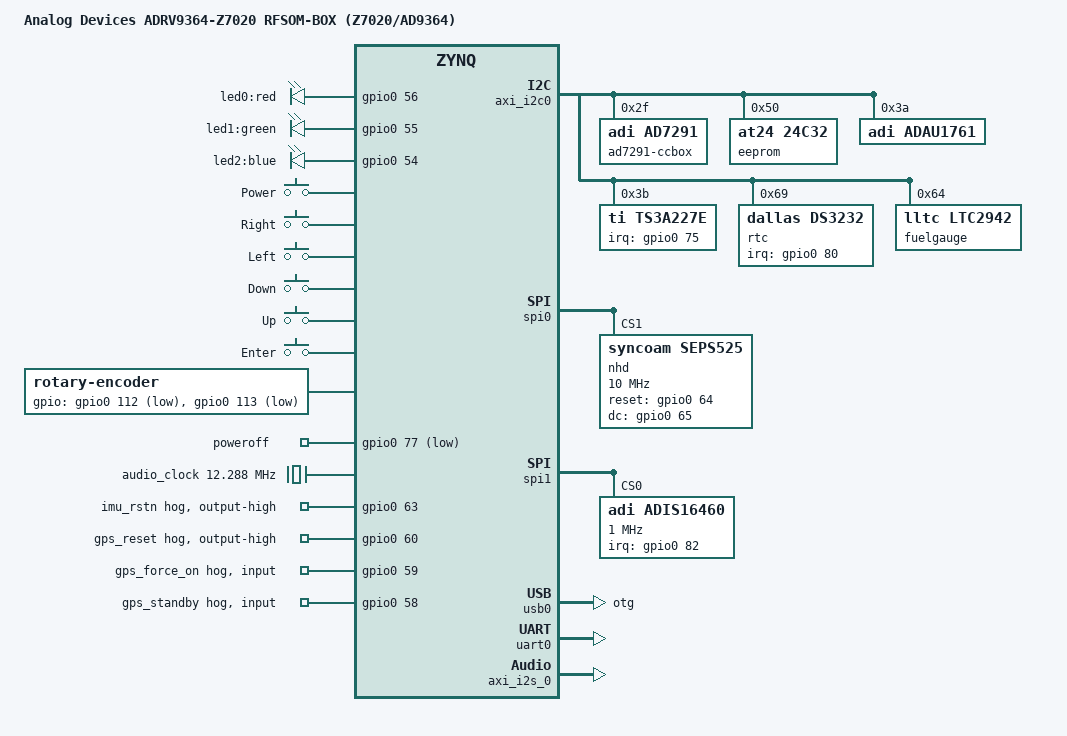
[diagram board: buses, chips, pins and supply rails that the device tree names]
// SPDX-License-Identifier: GPL-2.0
/*
 * AD9364-Z7020 System on Module (SOM) SDR - PackRF Carrier
 * Link: https://www.analog.com/ADRV9361-Z7020
 * Link: https://wiki.analog.com/resources/eval/user-guides/adrv936x_rfsom
 *
 * hdl_project: <adrv9364z7020/ccpackrf_lvds>
 * board_revision: <>
 *
 * Copyright 2016-2019 Analog Devices Inc.
 */
/dts-v1/;
#include "zynq-adrv9364-z7020.dtsi"
#include <dt-bindings/input/input.h>
#include <dt-bindings/gpio/gpio.h>
#include <dt-bindings/interrupt-controller/irq.h>

/ {
	model = "Analog Devices ADRV9364-Z7020 RFSOM-BOX (Z7020/AD9364)";
};

&axi_i2c0 {
	ad7291-ccbox@2f {
		compatible = "adi,ad7291";
		reg = <0x2f>;
	};

	eeprom@50 {
		compatible = "at24,24c32";
		reg = <0x50>;
	};

	adau1761: adau1761@3a {
		compatible = "adi,adau1761";
		reg = <0x3a>;

		clocks = <&audio_clock>;
		clock-names = "mclk";

		#sound-dai-cells = <0>;
	};

	ts3a227e@3b {
		compatible = "ti,ts3a227e";
		reg = <0x3b>;
		interrupt-parent = <&gpio0>;
		interrupts = <75 IRQ_TYPE_LEVEL_LOW>;
		ti,micbias = <1>; /* 2.2 Volt */
		ti,insertion-debounce-time = <6>; /* 1 sec */
	};

	rtc@68 {
		compatible = "dallas,ds3232";
		reg = <0x69>;
		interrupt-parent = <&gpio0>;
		interrupts = <80 IRQ_TYPE_LEVEL_LOW>;
	};

	fuelgauge: ltc2942@64 {
		compatible = "lltc,ltc2942";
		reg = <0x64>;
		lltc,resistor-sense = <20>;
		lltc,prescaler-exponent = <5>; /* 2^(2*5) = 1024 */
	};
};

/ {
	leds {
		compatible = "gpio-leds";
		led0 {
			label = "led0:red";
			gpios = <&gpio0 56 0>;
			linux,default-trigger = "heartbeat";
			};

		led1 {
			label = "led1:green";
			gpios = <&gpio0 55 0>;
			linux,default-trigger = "heartbeat";
		};

		led2 {
			label = "led2:blue";
			gpios = <&gpio0 54 0>;
			linux,default-trigger = "heartbeat";
		};
	};

	gpio-keys-power {
		#address-cells = <1>;
		#size-cells = <0>;
		compatible = "gpio-keys";

		power {
			interrupt-parent = <&gpio0>;
			interrupts = <76 IRQ_TYPE_EDGE_FALLING>;

			label = "Power";
			//gpios = <&gpio0 76 GPIO_ACTIVE_LOW>;

			linux,code = <KEY_POWER>;
			gpio-key,wakeup;
		};
	};

	gpio-keys-nav-switch {
		compatible = "gpio-keys";
		#address-cells = <1>;
		#size-cells = <0>;
		interrupt-parent = <&gpio0>;
		autorepeat;

		s5 {
			label = "Right";
			linux,code = <KEY_RIGHT>;
			interrupts = <101 IRQ_TYPE_EDGE_RISING>;
			debounce-interval = <10>;
		};

		s3 {
			label = "Left";
			linux,code = <KEY_LEFT>;
			interrupts = <103 IRQ_TYPE_EDGE_RISING>;
			debounce-interval = <10>;
			};

		s4 {
			label = "Down";
			linux,code = <KEY_DOWN>;
			interrupts = <102 IRQ_TYPE_EDGE_RISING>;
			debounce-interval = <10>;
		};

		s2 {
			label = "Up";
			linux,code = <KEY_UP>;
			interrupts = <104 IRQ_TYPE_EDGE_RISING>;
			debounce-interval = <10>;
		};

		s1 {
			label = "Enter";
			linux,code = <KEY_ENTER>;
			interrupts = <111 IRQ_TYPE_EDGE_RISING>;
			debounce-interval = <10>;
		};

	};

	rotary {
			compatible = "rotary-encoder";
			gpios = <&gpio0 112 1>, <&gpio0 113 1>;
			linux,axis = <REL_WHEEL>;
			rotary-encoder,steps = <24>;
			rotary-encoder,steps-per-period = <2>;
			rotary-encoder,rollover;
			rotary-encoder,relative-axis;
	};

	poweroff {
		compatible = "gpio-poweroff";
		gpios = <&gpio0 77 GPIO_ACTIVE_LOW>;
	};

	audio_clock: audio_clock {
		compatible = "fixed-clock";
		#clock-cells = <0>;
		clock-frequency = <12288000>;
	};


	pzsdr_sound {
		compatible = "simple-audio-card-adrv936x-box";
		simple-audio-card,name = "ADRV9364-Z7020 ADAU1761";
		simple-audio-card,widgets =
			"Microphone", "Mic In",
			"Headphone", "Headphone Out";
		simple-audio-card,routing =
			"Headphone Out", "LHP",
			"Headphone Out", "RHP",
			"Mic In", "MICBIAS",
			"LINN", "Mic In";

		simple-audio-card,dai-link@0 {
			format = "i2s";
			cpu {
				sound-dai = <&axi_i2s_0>;
				frame-master;
				bitclock-master;
			};
			codec {
				sound-dai = <&adau1761>;
			};
		};
	};
};

&gpio0 {
	imu_rstn {
		gpio-hog;
		gpios = <63 0>;
		output-high;
		line-name = "imu_rstn";
	};

	gps_reset0 {
		gpio-hog;
		gpios = <60 0>;
		output-high;
		line-name = "gps_reset";
	};

	gps_force_on {
		gpio-hog;
		gpios = <59 0>;
		input;
		line-name = "gps_force_on";
	};

	gps_standby {
		gpio-hog;
		gpios = <58 0>;
		input;
		line-name = "gps_standby";
	};
};

 /* Display:
  * NHD-1.69-160128UGC3 (Newhaven Display International, Inc.)
  */

&spi0 {
	status = "okay";

	nhd@0{
		compatible = "syncoam,seps525";
		reg = <1>;
		status = "ok";

		spi-max-frequency = <10000000>;
		spi-cpol;
		spi-cpha;
		rotate = <0>;
		fps = <50>;
		buswidth = <8>;
		txbuflen = <64000>;
		reset-gpios = <&gpio0 64 0>;
		dc-gpios = <&gpio0 65 0>;
		debug = <0>;
	};
};

&spi1 {
	status = "okay";
	num-cs = <4>;
	is-decoded-cs = <0>;

	adis16460@0{
		compatible = "adi,adis16460";
		reg = <0>;
		spi-max-frequency = <1000000>;
		spi-cpol;
		spi-cpha;
		interrupt-parent = <&gpio0>;
		interrupts = <82 IRQ_TYPE_EDGE_RISING>;
	};
};

&usb0 {
	status = "okay";
	dr_mode = "otg";
};

&uart0 {
	status = "okay";
};

&aliases {
	serial1 = &uart0;
};

&fpga_axi {
	axi_i2s_0: axi-i2s@77600000 {
		compatible = "adi,axi-i2s-1.00.a";
		reg = <0x77600000 0x1000>;
		dmas = <&dmac_s 0 &dmac_s 1>;
		dma-names = "tx", "rx";
		clocks = <&clkc 15>, <&audio_clock>;
		clock-names = "axi", "ref";

		#sound-dai-cells = <0>;
	};
};

/*

input	imu_ready	28	82
output	imu_rstn	9	63
inout	imu_sync	8	62

output	oled_rst	10	64
output	oled_dc		11	65

output	switch_led_r	2	56
output	switch_led_g	1	55
output	switch_led_b	0	54

output	gps_reset	6	60
output	gps_force_on	5	59
output	gps_standby	4	58
input	gps_pps		7	61

input	pss_valid_n_0	12	66
input	pss_valid_n_1	13	67
input	pss_valid_n_2	14	68
inout	adp5061_io_0	16	70
inout	adp5061_io_1	17	71
inout	adp5061_io_2	18	72

	rtc_int		26	80
	adp1614_en	25	79
	otg_ctrl	24	78

inout	ltc2955_kill_n	23	77
inout	ltc2955_int_n	22	76
inout	mic_present_n	20	74
inout	ts3a227_int_n	21	75

output	enable		47	101
output	txnrx		48	102

inout	gpio_rf0	56	110
inout	gpio_rf1	55	109
inout	gpio_rf2	54	108
inout	gpio_rf3	53	107
inout	gpio_rf4	61	115
inout	gpio_rfpwr_enable 52	106
inout	gpio_clksel	51	105
inout	gpio_resetb	46	100
inout	gpio_sync	45	99
inout	gpio_en_agc	44	98
inout	gpio_ctl	40..43	94..97
inout	gpio_status	32..39	86..93

*/

